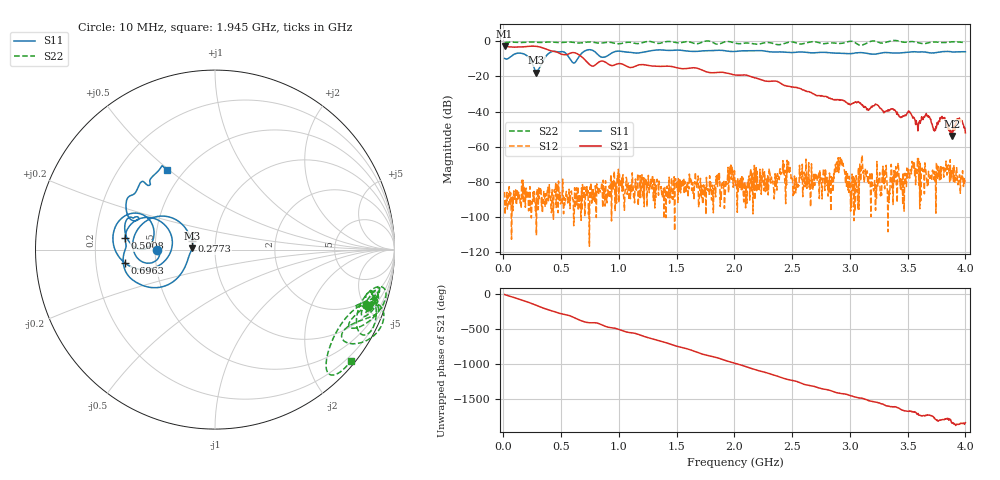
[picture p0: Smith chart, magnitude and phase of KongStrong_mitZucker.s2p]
!  26/06/2026  14:26:38
! Ref Plane: 0.000 mm
# MHZ S MA R  50
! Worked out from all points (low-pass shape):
!   1001 points, 10 MHz to 4 GHz, reference 50 ohm
!   highest |S21| = -2.73 dB at 10 MHz (marker M1); lowest = -53.9 dB at 3.888 GHz (marker M2)
!   |S21| within 3 dB of the highest: start of sweep to 434.2 MHz
!   lowest |S11| = -17.9 dB at 285.3 MHz (marker M3), VSWR 1.29, Z = 38.8 + j0.623 ohm
!   |S11| at or under -10 dB: 15.72 MHz to 36.55 MHz (20.83 MHz wide, 79.7 % of centre); 226.6 MHz to 353.5 MHz (126.9 MHz wide, 43.7 % of centre); 575.7 MHz to 642.5 MHz (66.83 MHz wide, 11 % of centre)
!   |S22| runs from -2.3 to 0.4 dB; largest |S21 - S12| = 0.73
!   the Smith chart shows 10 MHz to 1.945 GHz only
!   S11 on the Smith chart (normalised r, x): 10 MHz: 0.51, -0.00; 277.3 MHz: 0.77, +0.08; 500.8 MHz: 0.33, +0.06; 696.3 MHz: 0.33, -0.07; 1.945 GHz: 0.40, +0.49
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10  0.3246 -179.6  0.7303 -7.7  5.228e-05 -42.4  0.9101 -20.1
161.62  0.4487 166.8  0.6881 -87.4  0.0001126 79.3  0.9176 -17.7
277.33  0.1363 158.7  0.7132 -156.5  1.511e-05 -148.6  0.9433 -18.4
285.31  0.1269 176.4  0.7136 -161.5  3.077e-06 122.9  0.9355 -18.9
500.77  0.5049 172.8  0.4286 78.8  2.739e-05 40.3  0.9146 -22.6
676.33  0.4483 -166.2  0.3624 -22.4  6.797e-05 -179.2  0.8966 -24.2
696.28  0.5077 -171.6  0.3168 -33.7  4.46e-05 135.5  0.916 -23.9
1027.45  0.5092 159.3  0.2247 -162.2  5.489e-05 -49.0  0.8675 -20.2
1342.66  0.5646 150.5  0.1926 57.0  4.203e-05 -19.6  0.865 -21.6
1641.91  0.5113 135.4  0.1765 -89.0  4.757e-05 -18.6  0.8849 -27.2
1945.15  0.5194 121.0  0.122 121.3  0.00026 -149.0  0.9783 -39.2
2005  0.5106 118.8  0.1099 93.0  7.912e-05 45.0  0.8847 -17.0
2671.33  0.4663 100.6  0.03358 132.1  7.952e-05 69.3  0.9646 -22.6
2834.92  0.4657 99.3  0.02293 62.9  1.488e-05 -92.8  0.896 -50.6
2918.71  0.4523 96.7  0.02102 25.0  0.0003145 -147.7  0.8628 -44.1
3002.5  0.4426 92.6  0.01553 -6.0  9.259e-05 -140.5  0.9926 -18.9
3102.25  0.4725 93.4  0.01604 -44.8  0.0005514 118.8  0.7732 -47.3
3337.66  0.4716 85.9  0.01036 -159.4  2.591e-05 -160.3  0.9855 -36.1
3445.39  0.4672 82.9  0.007153 152.5  6.077e-05 -80.9  0.9658 -1.5
3545.14  0.4979 82.4  0.006478 121.1  0.0004054 54.9  0.9732 -27.6
3888.28  0.4927 84.3  0.002029 -39.3  0.0002372 -29.9  0.9618 -9.4
4000  0.5002 81.6  0.002484 -32.1  0.000113 17.1  0.9038 -9.6
